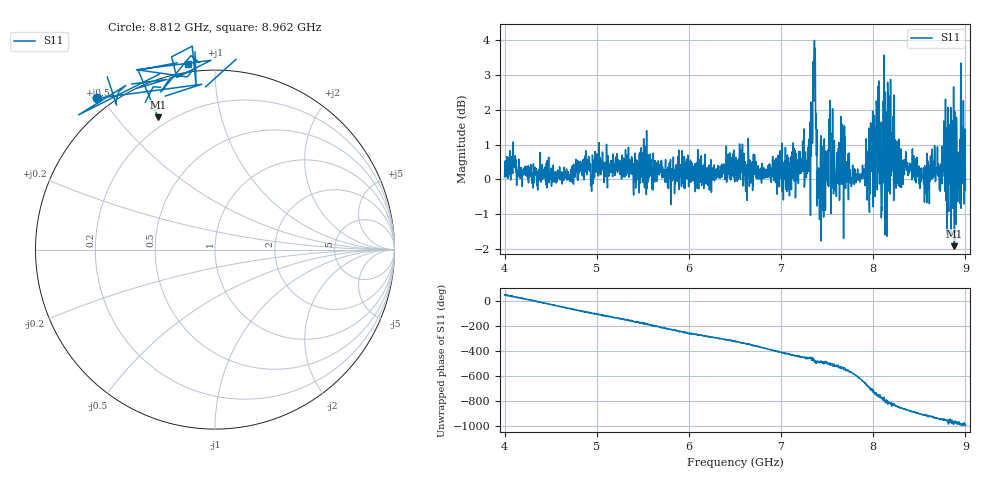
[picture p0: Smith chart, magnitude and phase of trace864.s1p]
! Created with skrf 1.8.0 (http://scikit-rf.org).
# Hz S RI R 50.0
!freq ReS11 ImS11
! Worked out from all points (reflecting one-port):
!   1601 points, 4 GHz to 9 GHz, reference 50 ohm
!   lowest |S11| = -1.9 dB at 8.881 GHz (marker M1), VSWR 9.08, Z = 7.86 + j32.4 ohm
!   phase of S11 starts at 52 deg and turns -1048 deg over the sweep
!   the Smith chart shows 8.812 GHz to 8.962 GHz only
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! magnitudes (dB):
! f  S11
! 4 GHz  0.1
! 4.625 GHz  -0.1
! 5.25 GHz  0.1
! 5.875 GHz  0.0
! 6.5 GHz  0.2
! 7.038 GHz  0.1
! 7.125 GHz  0.6
! 7.294 GHz  0.9
! 7.347 GHz  3.4
! 7.356 GHz  3.4
! 7.372 GHz  3.4
! 7.4 GHz  0.0
! 7.428 GHz  0.9
! 7.538 GHz  1.3
! 7.591 GHz  -0.3
! 7.669 GHz  0.4
! 7.75 GHz  0.3
! 7.934 GHz  -0.6
! 8.053 GHz  1.1
! 8.081 GHz  1.2
! 8.178 GHz  2.4
! 8.3 GHz  0.1
! 8.375 GHz  0.4
! 8.556 GHz  -0.7
! 8.881 GHz  -1.9
! 8.906 GHz  1.2
! 8.972 GHz  0.9
! 9 GHz  -0.3
